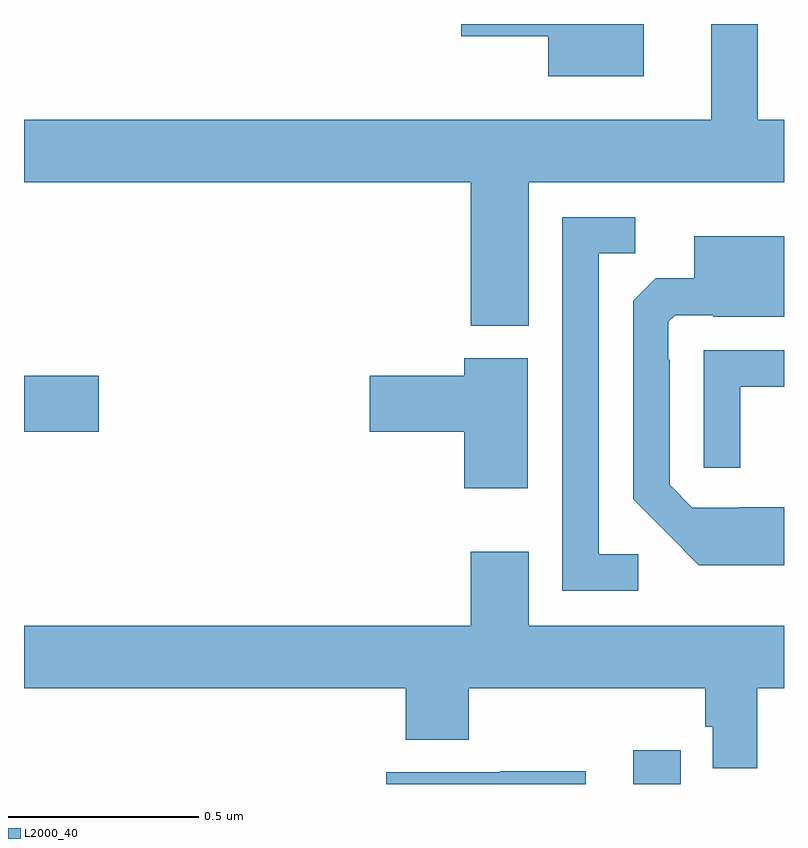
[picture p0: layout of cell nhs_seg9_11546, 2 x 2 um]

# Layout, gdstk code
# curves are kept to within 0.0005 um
import gdstk
lib = gdstk.Library(unit=1e-6, precision=1e-09)
def R(c, l, rs):  # rectangles x0, y0, x1, y1
    for r in rs: c.add(gdstk.rectangle(r[:2], r[2:], *l))
def P(c, l, *ps):  # polygons
    for p in ps: c.add(gdstk.Polygon(p, *l))
L2000_40 = (2000, 40)

nhs_seg9_11546 = lib.new_cell('nhs_seg9_11546')
R(nhs_seg9_11546, L2000_40, [(258.603,1197.5,258.728,1197.589), (257,1198.427,257.197,1198.574)])
P(nhs_seg9_11546, L2000_40, [(257,1199.084),(258.176,1199.084),(258.176,1198.706),(258.328,1198.706),(258.328,1199.084),(259,1199.084),(259,1199.248),(258.931,1199.248),(258.931,1199.5),(258.809,1199.5),(258.809,1199.248),(257,1199.248)],
  [(258.631,1199.5),(258.15,1199.5),(258.15,1199.468),(258.38,1199.468),(258.38,1199.363),(258.631,1199.363)],
  [(258.616,1198.104),(258.513,1198.104),(258.513,1198.897),(258.609,1198.897),(258.609,1198.992),(258.417,1198.992),(258.417,1198.008),(258.616,1198.008)],
  [(259,1198.228),(258.882,1198.228),(258.882,1198.227),(258.759,1198.227),(258.699,1198.287),(258.699,1198.616),(258.696,1198.616),(258.696,1198.716),(258.714,1198.734),(258.814,1198.734),(258.814,1198.73),(259,1198.73),(259,1198.942),(258.764,1198.942),(258.764,1198.831),(258.662,1198.831),(258.603,1198.772),(258.603,1198.25),(258.775,1198.076),(259,1198.076)],
  [(258.885,1198.545),(259,1198.545),(259,1198.641),(258.789,1198.641),(258.789,1198.332),(258.885,1198.332)],
  [(258.325,1198.621),(258.158,1198.621),(258.158,1198.574),(257.91,1198.574),(257.91,1198.427),(258.158,1198.427),(258.158,1198.278),(258.325,1198.278)],
  [(258.929,1197.752),(259,1197.752),(259,1197.916),(258.328,1197.916),(258.328,1198.111),(258.176,1198.111),(258.176,1197.916),(257,1197.916),(257,1197.752),(258.005,1197.752),(258.005,1197.616),(258.17,1197.616),(258.17,1197.752),(258.793,1197.752),(258.793,1197.651),(258.813,1197.651),(258.813,1197.542),(258.929,1197.542)],
  [(258.478,1197.534),(258.253,1197.534),(258.253,1197.531),(257.953,1197.531),(257.953,1197.5),(258.478,1197.5)])

lib.write_gds('nhs_seg9_11546.gds')
